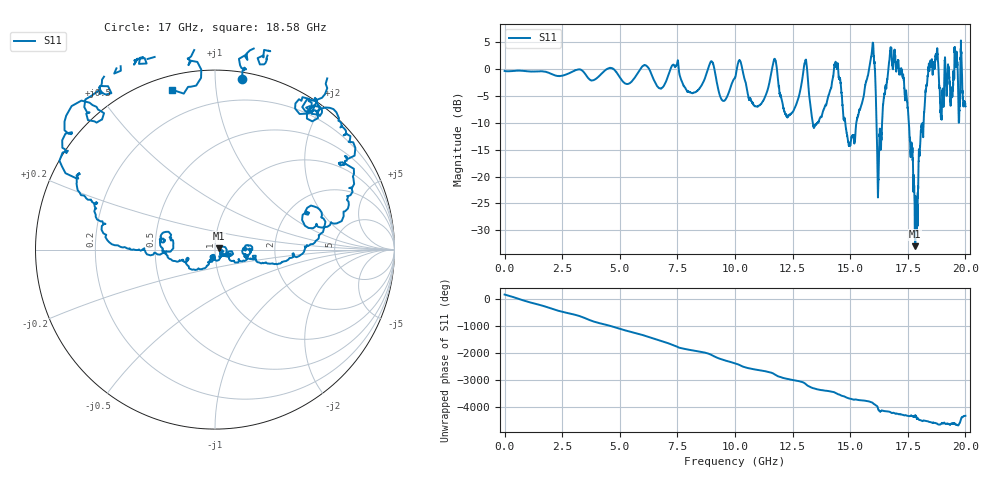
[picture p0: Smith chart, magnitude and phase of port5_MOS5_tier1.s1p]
! Created with skrf 1.8.0 (http://scikit-rf.org).
# GHz S RI R 50.0
!freq ReS11 ImS11
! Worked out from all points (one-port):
!   10001 points, 1 MHz to 20 GHz, reference 50 ohm
!   lowest |S11| = -33.0 dB at 17.82 GHz (marker M1), VSWR 1.05, Z = 52.2 + j0.791 ohm
!   |S11| at or under -10 dB: 14.79 GHz to 15.27 GHz (477.2 MHz wide, 3.18 % of centre); 16.15 GHz to 16.38 GHz (239.5 MHz wide, 1.47 % of centre); 17.55 GHz to 18.19 GHz (639.3 MHz wide, 3.58 % of centre) (the widest 3 of 4)
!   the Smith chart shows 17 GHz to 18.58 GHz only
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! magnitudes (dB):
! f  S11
! 1 MHz  -0.3
! 2.501 GHz  -1.2
! 5.001 GHz  -1.5
! 7.501 GHz  1.2
! 8.181 GHz  -4.4
! 8.995 GHz  1.4
! 9.497 GHz  -5.9
! 10 GHz  -1.6
! 10.23 GHz  1.5
! 11 GHz  -6.9
! 11.72 GHz  1.9
! 12.17 GHz  -8.2
! 12.5 GHz  -8.0
! 13.05 GHz  1.6
! 13.52 GHz  -10.3
! 14.39 GHz  0.8
! 15 GHz  -14.1
! 15.95 GHz  3.6
! 16.26 GHz  -14.7
! 16.74 GHz  3.4
! 17.24 GHz  -0.1
! 17.5 GHz  -7.1
! 17.82 GHz  -33.0
! 18.46 GHz  0.7
! 18.75 GHz  2.2
! 18.98 GHz  -7.2
! 19.57 GHz  1.4
! 20 GHz  -7.0
